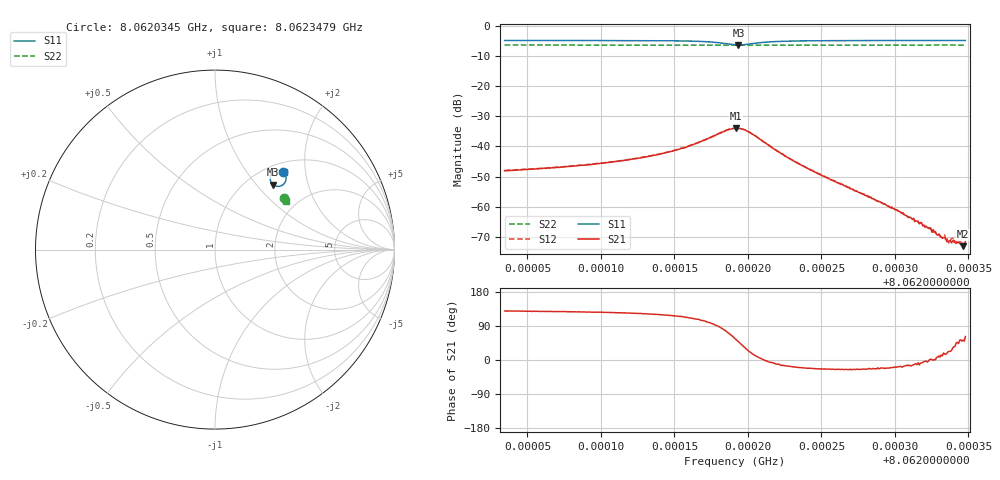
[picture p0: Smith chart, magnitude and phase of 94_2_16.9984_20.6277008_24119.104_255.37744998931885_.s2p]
#  HZ  S  RI  R  50.00
! Rohde & Schwarz Vector Network Analyzer
! Rohde-Schwarz,ZNB20-2Port,1311601062101988,3.16
! Created: UTC 3/20/2024, 10:56:15 PM
! freq[Hz]  re:S11  im:S11  re:S21  im:S21  re:S12  im:S12  re:S22  im:S22
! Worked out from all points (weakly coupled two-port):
!   401 points, 8.0620345 GHz to 8.0623479 GHz, reference 50 ohm
!   highest |S21| = -33.96 dB at 8.062192 GHz (marker M1); lowest = -73.1 dB at 8.0623464 GHz (marker M2)
!   lowest |S11| = -6.3 dB at 8.0621936 GHz (marker M3), VSWR 2.89, Z = 64.9 + j61.5 ohm
!   |S11| at or under -10 dB: nowhere
!   |S22| runs from -6.4 to -6.3 dB; largest |S21 - S12| = 0.0015
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8.06203451e9  0.379 0.4332  -0.0025 0.00305  -0.00235 0.00327  0.3871 0.2879
8.06208701e9  0.3845 0.4271  -0.00293 0.00389  -0.0027 0.00409  0.3892 0.2851
8.06211522e9  0.3884 0.4218  -0.00327 0.00481  -0.00301 0.00507  0.3901 0.2836
8.06213951e9  0.3926 0.4136  -0.00369 0.0064  -0.00336 0.00672  0.3909 0.282
8.06215754e9  0.3957 0.4017  -0.00363 0.00886  -0.0033 0.00925  0.3914 0.2806
8.06217477e9  0.3911 0.3765  -0.00177 0.014  -0.000941 0.0143  0.3912 0.2789
8.06218496e9  0.3664 0.3547  0.00414 0.0178  0.00545 0.0177  0.3901 0.2779
8.06219123e9  0.3351 0.3554  0.011 0.0166  0.0123 0.016  0.3891 0.278
8.06219201e9  0.3312 0.3572  0.012 0.0161  0.0131 0.0155  0.3889 0.2783
8.06219358e9  0.3236 0.362  0.0133 0.0148  0.0144 0.014  0.3889 0.2785
8.06220142e9  0.3073 0.3993  0.0158 0.00615  0.0163 0.00524  0.3889 0.28
8.06222257e9  0.3413 0.4397  0.0074 -0.00196  0.00739 -0.00217  0.3918 0.2802
8.06224373e9  0.3597 0.4403  0.00369 -0.00151  0.00359 -0.00176  0.3931 0.2789
8.06229623e9  0.3757 0.4343  0.000917 -0.000356  0.000905 -0.000434  0.3953 0.2759
8.06231661e9  0.3789 0.4325  0.000513 -0.000121  0.000505 -0.000129  0.3961 0.2748
8.06232366e9  0.3797 0.4317  0.000438 8.69e-06  0.000449 -1.73e-05  0.3963 0.2745
8.06232993e9  0.3805 0.4313  0.000346 6.71e-05  0.000336 3.55e-05  0.3967 0.2743
8.06233385e9  0.3809 0.4309  0.000297 8.32e-05  0.000327 8.63e-05  0.3967 0.274
8.0623362e9  0.3812 0.4307  0.000242 9.78e-05  0.000245 0.000109  0.3967 0.274
8.06233933e9  0.3816 0.4305  0.000229 0.000142  0.000263 0.000145  0.3969 0.2737
8.06234638e9  0.3823 0.4299  0.000135 0.000175  0.000143 0.000204  0.3971 0.2733
8.06234795e9  0.3825 0.4299  0.000123 0.00023  0.00014 0.000204  0.3972 0.2733
